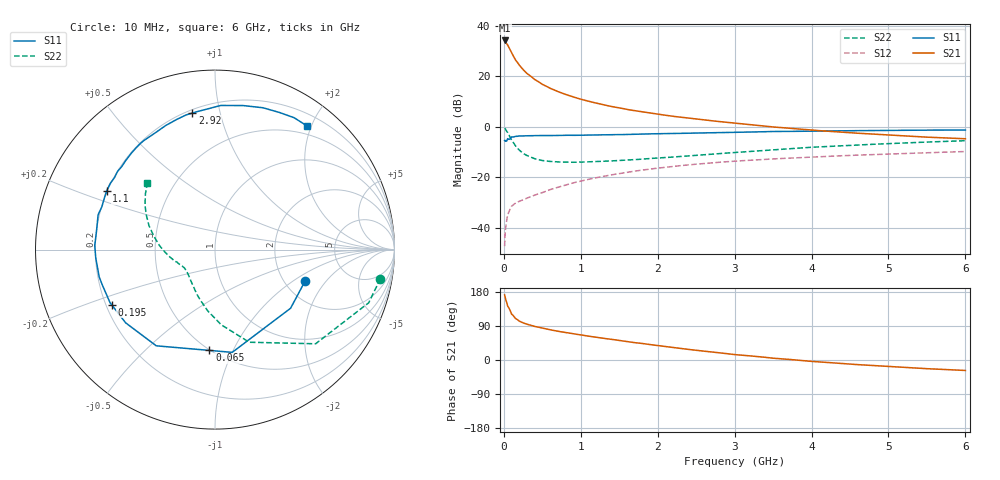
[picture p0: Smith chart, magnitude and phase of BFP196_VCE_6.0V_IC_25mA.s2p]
! Infineon Technologies  Discrete & RF Semiconductors
! BFP196
! VCE = 6.0 V,  IC =  25mA
! Common Emitter S-Parameters:  Jan 2016
# GHz  S  MA  R  50
!  f  S11  S21  S12  S22
! GHz  MAG  ANG  MAG  ANG  MAG  ANG  MAG  ANG
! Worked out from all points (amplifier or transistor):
!   210 points, 10 MHz to 6 GHz, reference 50 ohm
!   highest |S21| = 34.2 dB at 10 MHz (marker M1)
!   |S21| within 3 dB of that: start of sweep to 69.27 MHz
!   unconditionally stable (mu >= 1): 632.2 MHz to 4.256 GHz
!   at 185 MHz: K = 0.52, MSG = 27.4 dB, |S12| = -29.8 dB
!   at 1.52 GHz: K = 1.10, MAG = 11.0 dB, |S12| = -18.5 dB
!   at 6 GHz: K = 0.96, MSG = 2.5 dB, |S12| = -9.8 dB
!   S11 on the Smith chart (normalised r, x): 10 MHz: 2.58, -1.26; 65 MHz: 0.50, -0.81; 195 MHz: 0.22, -0.24; 1.1 GHz: 0.20, +0.24; 2.92 GHz: 0.22, +0.82; 6 GHz: 0.37, +1.93
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0.01  0.5318 -19.2  51.1 171.7  0.0043 81.8  0.936 -10.0
0.02  0.533 -37.8  48.81 162.6  0.0089 74.6  0.906 -19.1
0.05  0.5805 -80.5  41.47 142.3  0.018 61.0  0.768 -43.1
0.065  0.5624 -93.2  37.31 137.5  0.0204 55.4  0.6892 -49.3
0.1  0.628 -121.4  29.09 121.4  0.0265 46.5  0.5504 -69.7
0.15  0.6437 -140.7  21.25 109.9  0.0305 43.3  0.4201 -85.3
0.195  0.6528 -152.0  17.1 103.6  0.0329 42.9  0.3516 -95.3
0.24  0.6557 -159.7  14.09 99.0  0.0352 43.5  0.3057 -103.5
0.3  0.6629 -166.7  11.36 94.2  0.0383 45.8  0.2687 -112.0
0.4  0.666 -176.1  8.649 88.6  0.0441 48.2  0.2325 -122.6
0.5  0.6704 178.0  6.923 84.1  0.0494 50.5  0.2138 -130.4
0.6  0.6673 172.7  5.793 79.8  0.0565 52.8  0.2052 -135.8
0.7  0.6726 167.3  4.988 75.8  0.0628 53.9  0.2006 -140.1
1.02  0.681 154.4  3.439 65.6  0.0852 54.8  0.1992 -149.5
1.1  0.6866 151.6  3.192 62.9  0.0907 54.7  0.2014 -151.1
1.6  0.7027 135.0  2.199 48.6  0.1248 50.8  0.2194 -159.8
2.02  0.7256 122.6  1.753 37.7  0.1523 46.2  0.2407 -166.8
2.92  0.7712 99.4  1.209 16.3  0.2038 34.9  0.3021 177.5
3.1  0.7786 95.6  1.135 12.7  0.2122 32.5  0.3156 174.4
4.1  0.8199 77.4  0.836 -5.0  0.2544 20.6  0.3984 158.6
5.1  0.846 63.6  0.672 -18.3  0.2911 9.7  0.4688 146.2
6  0.8588 53.5  0.577 -27.6  0.322 -0.3  0.5281 135.5
